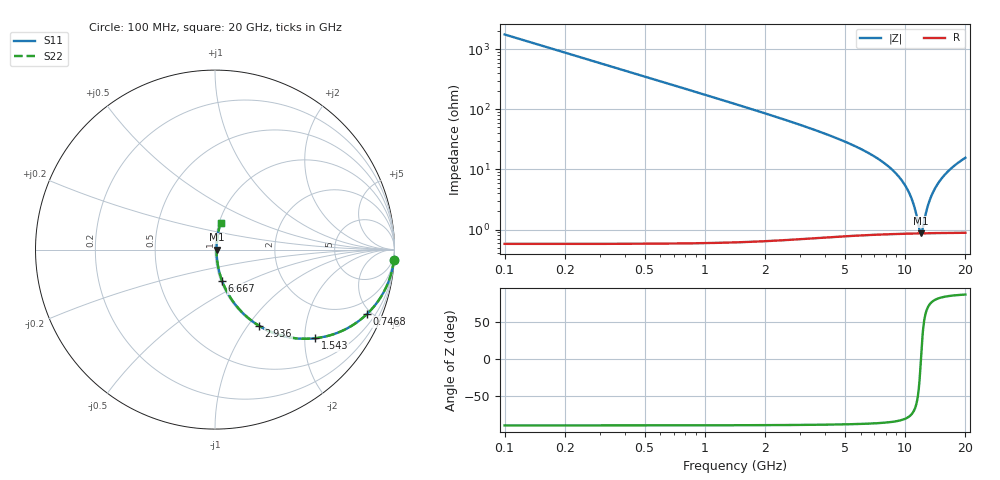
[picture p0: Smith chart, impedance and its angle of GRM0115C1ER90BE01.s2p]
!Murata Part Number: GRM0115C1ER90BE01
!These Parameters are Measured in Series Mode Connection
!Data Generated on Mar 30, 2021
!  o--ll--o
!Port1  Port2
!  o------o
!Operation Temp=25[degC], DC Bias Voltage=0[V]
!Freq. Start=100[MHz] Stop=20[GHz] 401[Steps]
# Hz S RI R 50
!Freq.(Hz) S11(Real) S11(Imag) S21(Real) S21(Imag) S12(Real) S12(Imag) S22(Real) S22(Imag)
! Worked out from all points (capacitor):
!   401 points, 100 MHz to 20 GHz, reference 50 ohm
!   read as one part in series: C = 900 fF near 199.5 MHz
!   lowest |Z| = 863 mohm at 11.99 GHz (marker M1)
!   series resonance near 12 GHz, so ESL is about 200 pH
!   S11 on the Smith chart (normalised r, x): 100 MHz: 1, -35; 746.8 MHz: 1.01, -4.72; 1.543 GHz: 1.01, -2.25; 2.936 GHz: 1.01, -1.13; 6.667 GHz: 1.02, -0.36; 20 GHz: 1.02, +0.31
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1e8  0.9968 -0.0564  0.00321 0.0564  0.00321 0.0564  0.9968 -0.0564
2.99e8  0.972 -0.1644  0.028 0.1644  0.028 0.1644  0.972 -0.1644
3.985e8  0.9513 -0.2146  0.0487 0.2146  0.0487 0.2146  0.9513 -0.2146
7.4675e8  0.847 -0.3588  0.153 0.3588  0.153 0.3588  0.847 -0.3588
1.095e9  0.7186 -0.4478  0.2814 0.4478  0.2814 0.4478  0.7186 -0.4478
1.54275e9  0.5589 -0.4938  0.4411 0.4938  0.4411 0.4938  0.5589 -0.4938
2.1895e9  0.379 -0.481  0.621 0.481  0.621 0.481  0.379 -0.481
2.93575e9  0.2447 -0.4239  0.7553 0.4239  0.7553 0.4239  0.2447 -0.4239
3.43325e9  0.1856 -0.3813  0.8144 0.3813  0.8144 0.3813  0.1856 -0.3813
6.667e9  0.0395 -0.1738  0.9605 0.1738  0.9605 0.1738  0.0395 -0.1738
6.7665e9  0.0378 -0.1693  0.9622 0.1693  0.9622 0.1693  0.0378 -0.1693
8.70675e9  0.0172 -0.0932  0.9828 0.0932  0.9828 0.0932  0.0172 -0.0932
1.005e10  0.0111 -0.0512  0.9889 0.0512  0.9889 0.0512  0.0111 -0.0512
1.09455e10  0.00921 -0.0265  0.9908 0.0265  0.9908 0.0265  0.00921 -0.0265
1.179125e10  0.00857 -0.00501  0.9914 0.00501  0.9914 0.00501  0.00857 -0.00501
1.199025e10  0.00856 -0.000186  0.9914 0.000186  0.9914 0.000186  0.00856 -0.000186
1.218925e10  0.00859 0.00456  0.9914 -0.00456  0.9914 -0.00456  0.00859 0.00456
1.2836e10  0.00898 0.0195  0.991 -0.0195  0.991 -0.0195  0.00898 0.0195
1.338325e10  0.00962 0.0315  0.9904 -0.0315  0.9904 -0.0315  0.00962 0.0315
1.47265e10  0.0122 0.0592  0.9878 -0.0592  0.9878 -0.0592  0.0122 0.0592
1.67165e10  0.0181 0.0963  0.9819 -0.0963  0.9819 -0.0963  0.0181 0.0963
2e10  0.032 0.15  0.968 -0.15  0.968 -0.15  0.032 0.15
